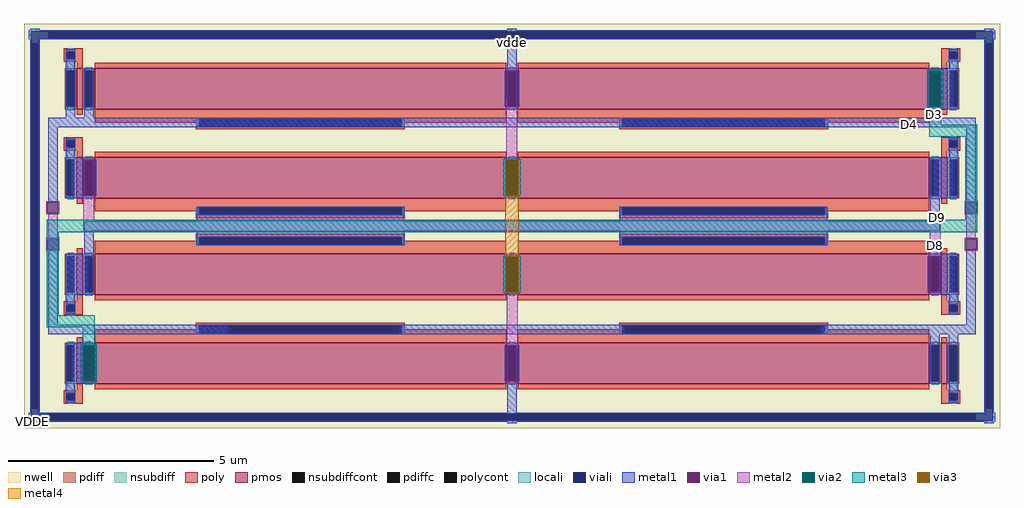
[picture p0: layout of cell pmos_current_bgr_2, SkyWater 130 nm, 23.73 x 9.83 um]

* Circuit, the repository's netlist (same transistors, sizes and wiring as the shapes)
** sch_path: /home/gilang_fajrul/chipalooza/sky130_gff_ip__bgr_1.2v/magic/pmos_current_bgr_2.sch
.subckt pmos_current_bgr_2 VDDE D3 D4 D8 D9
*.PININFO VDDE:B D4:B D3:B D9:B D8:B
XM8 D8 D9 VDDE vdde sky130_fd_pr__pfet_01v8 L=10 W=1 nf=1 m=2
XM9 D9 D9 VDDE vdde sky130_fd_pr__pfet_01v8 L=10 W=1 nf=1 m=2
XM3 D3 D4 VDDE vdde sky130_fd_pr__pfet_01v8 L=10 W=1 nf=1 m=2
XM4 D4 D4 VDDE vdde sky130_fd_pr__pfet_01v8 L=10 W=1 nf=1 m=2
XM1 D9 D9 D9 vdde sky130_fd_pr__pfet_01v8 L=0.15 W=1 nf=1 m=2
XM2 D4 D4 D4 vdde sky130_fd_pr__pfet_01v8 L=0.15 W=1 nf=1 m=2
XM5 D8 D8 D8 vdde sky130_fd_pr__pfet_01v8 L=0.15 W=1 nf=1 m=2
XM6 D3 D3 D3 vdde sky130_fd_pr__pfet_01v8 L=0.15 W=1 nf=1 m=2
.ends
.end

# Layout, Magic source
magic
tech sky130A
magscale 1 2
<< nwell >>
rect -250 -1450 4496 516
<< nsubdiff >>
rect -214 446 -129 480
rect 4375 446 4460 480
rect -214 420 -180 446
rect 4426 420 4460 446
rect -214 -1380 -180 -1354
rect 4426 -1380 4460 -1354
rect -214 -1414 -129 -1380
rect 4375 -1414 4460 -1380
<< nsubdiffcont >>
rect -129 446 4375 480
rect -214 -1354 -180 420
rect 4426 -1354 4460 420
rect -129 -1414 4375 -1380
<< poly >>
rect -56 381 36 397
rect -56 347 -40 381
rect -6 347 36 381
rect -56 331 36 347
rect 6 300 36 331
rect 4210 381 4302 397
rect 4210 347 4252 381
rect 4286 347 4302 381
rect 4210 331 4302 347
rect 4210 326 4240 331
rect -56 -51 36 -35
rect -56 -85 -40 -51
rect -6 -85 36 -51
rect -56 -101 36 -85
rect 6 -106 36 -101
rect 4210 -51 4302 -35
rect 4210 -85 4252 -51
rect 4286 -85 4302 -51
rect 4210 -101 4302 -85
rect 4210 -132 4240 -101
rect 6 -833 36 -821
rect -56 -849 36 -833
rect -56 -883 -40 -849
rect -6 -883 36 -849
rect -56 -898 36 -883
rect 4210 -833 4240 -802
rect 4210 -849 4302 -833
rect 4210 -883 4252 -849
rect 4286 -883 4302 -849
rect -56 -899 10 -898
rect 4210 -899 4302 -883
rect 6 -1265 36 -1234
rect -56 -1281 36 -1265
rect -56 -1315 -40 -1281
rect -6 -1315 36 -1281
rect -56 -1331 36 -1315
rect 4210 -1265 4240 -1234
rect 4210 -1281 4302 -1265
rect 4210 -1315 4252 -1281
rect 4286 -1315 4302 -1281
rect 4210 -1331 4302 -1315
<< polycont >>
rect -40 347 -6 381
rect 4252 347 4286 381
rect -40 -85 -6 -51
rect 4252 -85 4286 -51
rect -40 -883 -6 -849
rect 4252 -883 4286 -849
rect -40 -1315 -6 -1281
rect 4252 -1315 4286 -1281
<< locali >>
rect -40 381 -6 397
rect -40 300 -6 347
rect 4252 381 4286 397
rect 4252 298 4286 347
rect -40 -51 -6 -35
rect -40 -137 -6 -85
rect 4252 -51 4286 -35
rect 4252 -132 4286 -85
rect -40 -849 -6 -792
rect -40 -899 -6 -883
rect 4252 -849 4286 -802
rect 4252 -899 4286 -883
rect -40 -1281 -6 -1234
rect -40 -1331 -6 -1315
rect 4252 -1281 4286 -1234
rect 4252 -1331 4286 -1315
<< viali >>
rect -214 446 -129 480
rect -129 446 4375 480
rect 4375 446 4460 480
rect -214 420 -180 446
rect -214 -1354 -180 420
rect 4426 420 4460 446
rect -40 347 -6 381
rect 4252 347 4286 381
rect -40 -85 -6 -51
rect 4252 -85 4286 -51
rect -40 -883 -6 -849
rect 4252 -883 4286 -849
rect -40 -1315 -6 -1281
rect 4252 -1315 4286 -1281
rect -214 -1380 -180 -1354
rect 4426 -1354 4460 420
rect 4426 -1380 4460 -1354
rect -214 -1414 -129 -1380
rect -129 -1414 4375 -1380
rect 4375 -1414 4460 -1380
<< metal1 >>
rect -220 486 -174 492
rect 2100 486 2146 492
rect 4420 486 4466 492
rect -226 480 4472 486
rect -226 440 -214 480
rect -220 -1374 -214 440
rect -226 -1414 -214 -1374
rect -180 440 4426 446
rect -180 -1374 -174 440
rect -46 381 0 393
rect -46 347 -40 381
rect -6 347 0 381
rect -46 300 0 347
rect 2100 288 2146 440
rect 4246 381 4292 393
rect 4246 347 4252 381
rect 4286 347 4292 381
rect 4246 300 4292 347
rect 4194 295 4292 300
rect 4194 288 4272 295
rect -46 59 0 116
rect 2087 112 2097 288
rect 2149 112 2159 288
rect 4145 112 4155 288
rect 4207 112 4272 288
rect 42 59 88 108
rect 4194 100 4272 112
rect -133 13 4379 59
rect -133 -346 -87 13
rect -46 -51 0 -39
rect -46 -85 -40 -51
rect -6 -85 0 -51
rect -46 -132 0 -85
rect 4246 -51 4292 -39
rect 4246 -85 4252 -51
rect 4286 -85 4292 -51
rect 4246 -132 4292 -85
rect -46 -144 61 -132
rect -46 -145 39 -144
rect -21 -320 39 -145
rect 91 -320 101 -144
rect 2087 -320 2097 -144
rect 2149 -320 2159 -144
rect -21 -332 61 -320
rect 4175 -322 4274 -132
rect 4158 -332 4274 -322
rect -142 -352 -78 -346
rect -142 -404 -136 -352
rect -84 -404 -78 -352
rect -142 -410 -78 -404
rect 590 -444 1598 -411
rect 2648 -444 3656 -412
rect 4158 -444 4204 -332
rect 4333 -346 4379 13
rect 4324 -352 4388 -346
rect 4324 -404 4330 -352
rect 4382 -404 4388 -352
rect 4324 -410 4388 -404
rect 42 -490 4204 -444
rect -142 -530 -78 -524
rect -142 -582 -136 -530
rect -84 -582 -78 -530
rect -142 -588 -78 -582
rect -133 -947 -87 -588
rect 42 -602 88 -490
rect 590 -518 1598 -490
rect 2648 -519 3656 -490
rect 4324 -530 4388 -524
rect 4324 -582 4330 -530
rect 4382 -582 4388 -530
rect 4324 -588 4388 -582
rect -44 -611 88 -602
rect -44 -791 62 -611
rect 4180 -614 4279 -602
rect 2087 -790 2097 -614
rect 2149 -790 2159 -614
rect 4145 -790 4155 -614
rect 4207 -790 4279 -614
rect -46 -802 62 -791
rect 4180 -802 4279 -790
rect -46 -849 0 -802
rect -46 -883 -40 -849
rect -6 -883 0 -849
rect -46 -895 0 -883
rect 4246 -849 4292 -802
rect 4246 -883 4252 -849
rect 4286 -883 4292 -849
rect 4246 -895 4292 -883
rect 4333 -947 4379 -588
rect -133 -993 740 -947
rect 1575 -993 2671 -947
rect 3624 -993 4379 -947
rect -19 -1046 59 -1034
rect 4158 -1041 4204 -993
rect -19 -1222 39 -1046
rect 91 -1222 101 -1046
rect 2087 -1222 2097 -1046
rect 2149 -1222 2159 -1046
rect 4246 -1047 4292 -993
rect -19 -1234 59 -1222
rect -46 -1281 0 -1234
rect -46 -1315 -40 -1281
rect -6 -1315 0 -1281
rect -46 -1327 0 -1315
rect 2100 -1374 2146 -1222
rect 4246 -1281 4292 -1234
rect 4246 -1315 4252 -1281
rect 4286 -1315 4292 -1281
rect 4246 -1327 4292 -1315
rect 4420 -1374 4426 440
rect -180 -1380 4426 -1374
rect 4460 440 4472 480
rect 4460 -1374 4466 440
rect 4460 -1414 4472 -1374
rect -226 -1420 4472 -1414
rect -220 -1426 -174 -1420
rect 2100 -1426 2146 -1420
rect 4420 -1426 4466 -1420
<< via1 >>
rect 2097 112 2149 288
rect 4155 112 4207 288
rect 39 -320 91 -144
rect 2097 -320 2149 -144
rect -136 -404 -84 -352
rect 4330 -404 4382 -352
rect -136 -582 -84 -530
rect 4330 -582 4382 -530
rect 2097 -790 2149 -614
rect 4155 -790 4207 -614
rect 39 -1222 91 -1046
rect 2097 -1222 2149 -1046
<< metal2 >>
rect 2097 288 2149 298
rect 2095 112 2097 152
rect 2095 -134 2149 112
rect 4153 288 4209 298
rect 4153 102 4209 112
rect 39 -144 91 -134
rect -142 -352 -78 -346
rect -142 -404 -136 -352
rect -84 -404 -78 -352
rect -142 -410 -78 -404
rect -133 -524 -87 -410
rect 39 -441 91 -320
rect 2095 -144 2151 -134
rect 2095 -330 2151 -320
rect 4324 -352 4388 -346
rect 4324 -404 4330 -352
rect 4382 -404 4388 -352
rect 4324 -410 4388 -404
rect 39 -493 4207 -441
rect -142 -530 -78 -524
rect -142 -582 -136 -530
rect -84 -582 -78 -530
rect -142 -588 -78 -582
rect 2095 -614 2151 -604
rect 2095 -800 2151 -790
rect 4155 -614 4207 -493
rect 4333 -524 4379 -410
rect 4324 -530 4388 -524
rect 4324 -582 4330 -530
rect 4382 -582 4388 -530
rect 4324 -588 4388 -582
rect 4155 -800 4207 -790
rect 37 -1046 93 -1036
rect 37 -1232 93 -1222
rect 2097 -1046 2151 -800
rect 2149 -1064 2151 -1046
rect 2097 -1232 2149 -1222
<< via2 >>
rect 4153 112 4155 288
rect 4155 112 4207 288
rect 4207 112 4209 288
rect 2095 -320 2097 -144
rect 2097 -320 2149 -144
rect 2149 -320 2151 -144
rect 2095 -790 2097 -614
rect 2097 -790 2149 -614
rect 2149 -790 2151 -614
rect 37 -1222 39 -1046
rect 39 -1222 91 -1046
rect 91 -1222 93 -1046
<< metal3 >>
rect 4143 288 4219 293
rect 4143 112 4153 288
rect 4209 112 4219 288
rect 4143 107 4219 112
rect 4151 26 4211 107
rect 4151 -34 4386 26
rect 2085 -144 2161 -139
rect 2081 -320 2091 -144
rect 2155 -320 2165 -144
rect 2085 -325 2161 -320
rect 4326 -437 4386 -34
rect -140 -497 4386 -437
rect -140 -900 -80 -497
rect 2085 -614 2161 -609
rect 2081 -790 2091 -614
rect 2155 -790 2165 -614
rect 2085 -795 2161 -790
rect -140 -960 95 -900
rect 35 -1041 95 -960
rect 27 -1046 103 -1041
rect 27 -1222 37 -1046
rect 93 -1222 103 -1046
rect 27 -1227 103 -1222
<< via3 >>
rect 2091 -320 2095 -144
rect 2095 -320 2151 -144
rect 2151 -320 2155 -144
rect 2091 -790 2095 -614
rect 2095 -790 2151 -614
rect 2151 -790 2155 -614
<< metal4 >>
rect 2090 -144 2156 -143
rect 2090 -320 2091 -144
rect 2155 -320 2156 -144
rect 2090 -321 2156 -320
rect 2091 -613 2155 -321
rect 2090 -614 2156 -613
rect 2090 -790 2091 -614
rect 2155 -790 2156 -614
rect 2090 -791 2156 -790
use sky130_fd_pr__pfet_01v8_2XUZHN  sky130_fd_pr__pfet_01v8_2XUZHN_0
transform 1 0 21 0 1 -702
box -109 -162 109 162
use sky130_fd_pr__pfet_01v8_2XUZHN  sky130_fd_pr__pfet_01v8_2XUZHN_1
transform 1 0 4225 0 1 -1134
box -109 -162 109 162
use sky130_fd_pr__pfet_01v8_2XUZHN  sky130_fd_pr__pfet_01v8_2XUZHN_2
transform 1 0 4225 0 1 -702
box -109 -162 109 162
use sky130_fd_pr__pfet_01v8_2XUZHN  sky130_fd_pr__pfet_01v8_2XUZHN_3
transform 1 0 4225 0 1 -232
box -109 -162 109 162
use sky130_fd_pr__pfet_01v8_2XUZHN  sky130_fd_pr__pfet_01v8_2XUZHN_4
transform 1 0 4225 0 1 200
box -109 -162 109 162
use sky130_fd_pr__pfet_01v8_2XUZHN  sky130_fd_pr__pfet_01v8_2XUZHN_5
transform 1 0 21 0 1 200
box -109 -162 109 162
use sky130_fd_pr__pfet_01v8_2XUZHN  sky130_fd_pr__pfet_01v8_2XUZHN_6
transform 1 0 21 0 1 -232
box -109 -162 109 162
use sky130_fd_pr__pfet_01v8_2XUZHN  sky130_fd_pr__pfet_01v8_2XUZHN_7
transform 1 0 21 0 1 -1134
box -109 -162 109 162
use sky130_fd_pr__pfet_01v8_8RMJP2  sky130_fd_pr__pfet_01v8_8RMJP2_0
transform 1 0 2123 0 1 -1098
box -2123 -198 2123 164
use sky130_fd_pr__pfet_01v8_8RMJP2  sky130_fd_pr__pfet_01v8_8RMJP2_1
transform 1 0 2123 0 1 -666
box -2123 -198 2123 164
use sky130_fd_pr__pfet_01v8_CVRJBD  sky130_fd_pr__pfet_01v8_CVRJBD_0
transform 1 0 2123 0 1 -268
box -2123 -164 2123 198
use sky130_fd_pr__pfet_01v8_CVRJBD  sky130_fd_pr__pfet_01v8_CVRJBD_1
transform 1 0 2123 0 1 164
box -2123 -164 2123 198
<< labels >>
flabel metal1 2119 423 2119 423 1 FreeSans 160 0 0 0 vdde
port 0 n
flabel metal3 4176 73 4176 73 1 FreeSans 160 0 0 0 D3
port 1 n
flabel metal1 4190 -425 4190 -425 1 FreeSans 160 0 0 0 D9
port 4 n
flabel metal2 4182 -560 4182 -560 1 FreeSans 160 0 0 0 D8
port 5 n
flabel metal1 -209 -1418 -209 -1418 0 FreeSans 1600 0 0 0 VDDE
port 7 nsew
flabel metal1 4058 25 4058 25 1 FreeSans 160 0 0 0 D4
port 3 n
<< end >>

# cell sky130_fd_pr__pfet_01v8_2XUZHN: kit device sky130_fd_pr__pfet_01v8, w 1 l 0.15 m 1 nf 1 diffcov 100 polycov 100 guard 0 glc 1 grc 1 gtc 1 gbc 1 tbcov 100 rlcov 100 topc 0 botc 0 poverlap 0 doverlap 1 lmin 0.15 wmin 0.42 compatible {sky130_fd_pr__pfet_01v8 sky130_fd_pr__pfet_01v8_lvt sky130_fd_pr__pfet_01v8_hvt sky130_fd_pr__pfet_g5v0d10v5} full_metal 1 viasrc 100 viadrn 100 viagate 100 viagb 0 viagr 0 viagl 0 viagt 0

# cell sky130_fd_pr__pfet_01v8_8RMJP2: kit device sky130_fd_pr__pfet_01v8, w 1 l 10 m 1 nf 2 diffcov 100 polycov 50 guard 0 glc 1 grc 1 gtc 1 gbc 1 tbcov 100 rlcov 100 topc 1 botc 0 poverlap 0 doverlap 1 lmin 0.15 wmin 0.42 compatible {sky130_fd_pr__pfet_01v8 sky130_fd_pr__pfet_01v8_lvt sky130_fd_pr__pfet_01v8_hvt sky130_fd_pr__pfet_g5v0d10v5} full_metal 1 viasrc 100 viadrn 100 viagate 50 viagb 0 viagr 0 viagl 0 viagt 0

# cell sky130_fd_pr__pfet_01v8_CVRJBD: kit device sky130_fd_pr__pfet_01v8, w 1 l 10 m 1 nf 2 diffcov 100 polycov 50 guard 0 glc 1 grc 1 gtc 1 gbc 1 tbcov 100 rlcov 100 topc 0 botc 1 poverlap 0 doverlap 1 lmin 0.15 wmin 0.42 compatible {sky130_fd_pr__pfet_01v8 sky130_fd_pr__pfet_01v8_lvt sky130_fd_pr__pfet_01v8_hvt sky130_fd_pr__pfet_g5v0d10v5} full_metal 1 viasrc 100 viadrn 100 viagate 50 viagb 0 viagr 0 viagl 0 viagt 0
